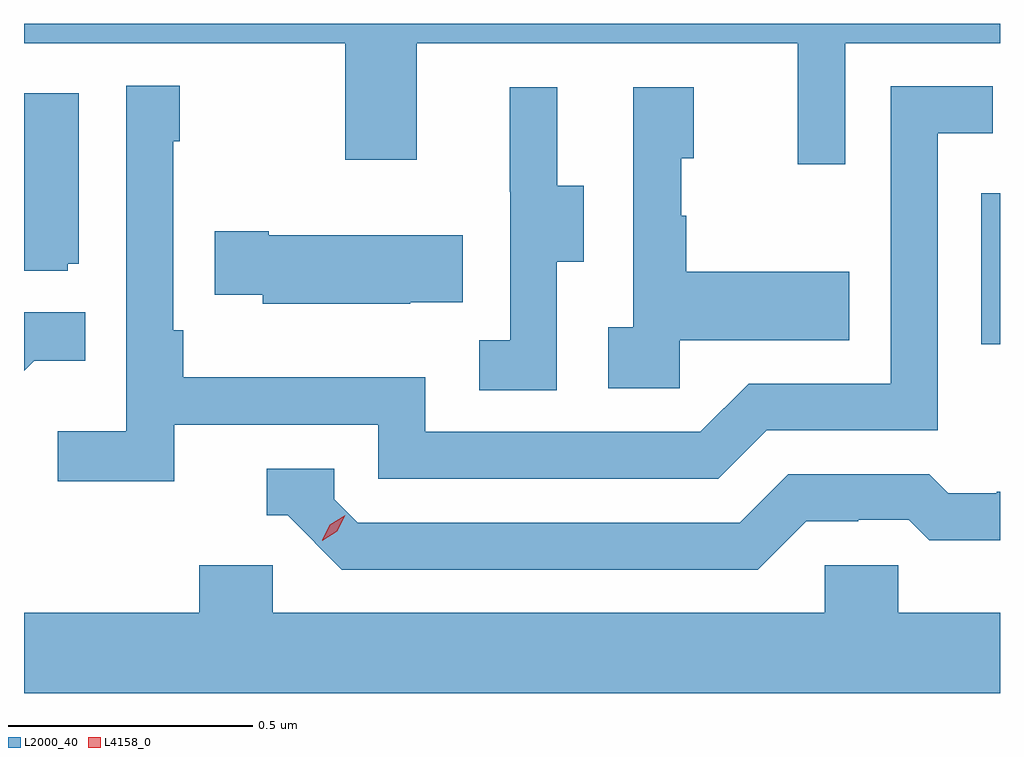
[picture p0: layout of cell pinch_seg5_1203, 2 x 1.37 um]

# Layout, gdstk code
import gdstk
lib = gdstk.Library(unit=1e-6, precision=1e-09)
def R(c, l, rs):  # rectangles x0, y0, x1, y1
    for r in rs: c.add(gdstk.rectangle(r[:2], r[2:], *l))
def P(c, l, *ps):  # polygons
    for p in ps: c.add(gdstk.Polygon(p, *l))
L2000_40 = (2000, 40)
L4158_0 = (4158, 0)

pinch_seg5_1203 = lib.new_cell('pinch_seg5_1203')
R(pinch_seg5_1203, L2000_40, [(870.426,848.151,870.464,848.46)])
P(pinch_seg5_1203, L2000_40, [(870.147,848.768),(870.464,848.768),(870.464,848.807),(868.464,848.807),(868.464,848.768),(869.122,848.768),(869.122,848.529),(869.269,848.529),(869.269,848.768),(870.05,848.768),(870.05,848.52),(870.147,848.52)],
  [(868.772,847.986),(869.19,847.986),(869.19,847.875),(869.887,847.875),(869.986,847.974),(870.336,847.974),(870.336,848.583),(870.449,848.583),(870.449,848.679),(870.24,848.679),(870.24,848.07),(869.949,848.07),(869.85,847.971),(869.286,847.971),(869.286,848.083),(868.79,848.083),(868.79,848.179),(868.77,848.179),(868.77,848.567),(868.783,848.567),(868.783,848.68),(868.674,848.68),(868.674,847.972),(868.533,847.972),(868.533,847.87),(868.772,847.87)],
  [(869.808,848.159),(870.155,848.159),(870.155,848.299),(869.821,848.299),(869.821,848.414),(869.811,848.414),(869.811,848.532),(869.836,848.532),(869.836,848.677),(869.712,848.677),(869.712,848.186),(869.661,848.186),(869.661,848.061),(869.808,848.061)],
  [(869.556,848.32),(869.611,848.32),(869.611,848.475),(869.557,848.475),(869.557,848.677),(869.459,848.677),(869.459,848.463),(869.46,848.463),(869.46,848.159),(869.397,848.159),(869.397,848.056),(869.556,848.056)],
  [(868.554,848.316),(868.576,848.316),(868.576,848.665),(868.464,848.665),(868.464,848.301),(868.554,848.301)],
  [(869.255,848.237),(869.363,848.237),(869.363,848.374),(868.966,848.374),(868.966,848.382),(868.855,848.382),(868.855,848.252),(868.953,848.252),(868.953,848.234),(869.255,848.234)],
  [(868.485,848.117),(868.589,848.117),(868.589,848.216),(868.464,848.216),(868.464,848.096)],
  [(870.067,847.788),(870.174,847.788),(870.174,847.791),(870.277,847.791),(870.319,847.749),(870.464,847.749),(870.464,847.848),(870.457,847.848),(870.457,847.845),(870.358,847.845),(870.319,847.884),(870.03,847.884),(869.931,847.785),(869.148,847.785),(869.1,847.833),(869.1,847.896),(868.961,847.896),(868.961,847.8),(869.004,847.8),(869.115,847.689),(869.968,847.689)],
  [(870.464,847.6),(870.255,847.6),(870.255,847.698),(870.105,847.698),(870.105,847.6),(868.974,847.6),(868.974,847.698),(868.823,847.698),(868.823,847.6),(868.464,847.6),(868.464,847.436),(870.464,847.436)])
P(pinch_seg5_1203, L4158_0, [(869.075,847.748),(869.075,847.749),(869.091,847.781),(869.122,847.8),(869.122,847.8),(869.122,847.8),(869.106,847.768),(869.075,847.748)])

lib.write_gds('pinch_seg5_1203.gds')
